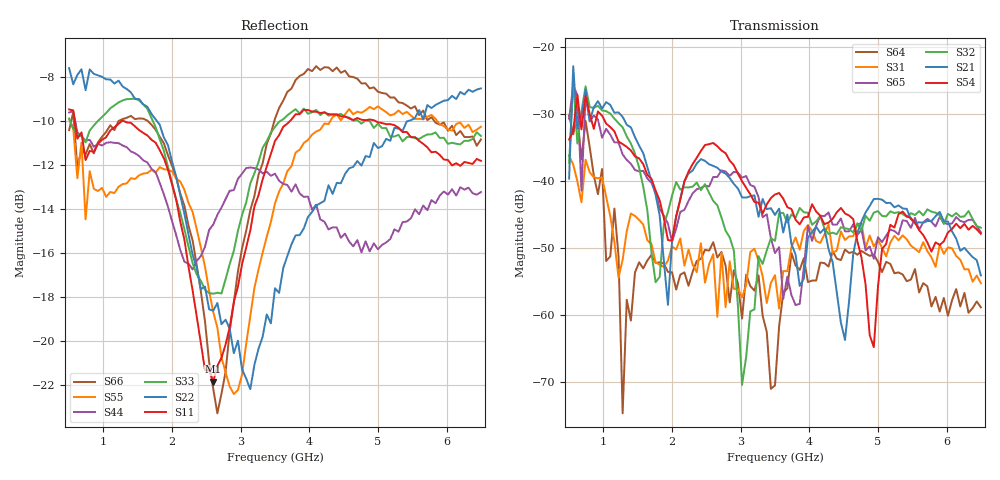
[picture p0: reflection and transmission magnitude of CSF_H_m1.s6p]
!Keysight Technologies,M9804A,MY58100912,A.14.10.03
!Date: Thursday, April 27, 2023 10:28:33
!Correction: S11(C  6-Port  )
!S12(C  6-Port  )
!S13(C  6-Port  )
!S14(C  6-Port  )
!S15(C  6-Port  )
!S16(C  6-Port  )
!S21(C  6-Port  )
!S22(C  6-Port  )
!S23(C  6-Port  )
!S24(C  6-Port  )
!S25(C  6-Port  )
!S26(C  6-Port  )
!S31(C  6-Port  )
!S32(C  6-Port  )
!S33(C  6-Port  )
!S34(C  6-Port  )
!S35(C  6-Port  )
!S36(C  6-Port  )
!S41(C  6-Port  )
!S42(C  6-Port  )
!S43(C  6-Port  )
!S44(C  6-Port  )
!S45(C  6-Port  )
!S46(C  6-Port  )
!S51(C  6-Port  )
!S52(C  6-Port  )
!S53(C  6-Port  )
!S54(C  6-Port  )
!S55(C  6-Port  )
!S56(C  6-Port  )
!S61(C  6-Port  )
!S62(C  6-Port  )
!S63(C  6-Port  )
!S64(C  6-Port  )
!S65(C  6-Port  )
!S66(C  6-Port  )
!S6P File: Measurement: :
# Hz S  RI  R 50
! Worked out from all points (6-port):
!   101 points, 500 MHz to 6.5 GHz, reference 50 ohm
!   strongest paths, dB at 500 MHz, 2 GHz, 3.5 GHz, 5 GHz, 6.5 GHz:
!     S54: -33.8, -48.9, -42.0, -55.8, -47.9
!     S21: -39.7, -49.0, -45.1, -42.7, -54.1
!     S32: -37.3, -42.2, -49.0, -44.5, -47.0
!     S65: -30.7, -49.1, -50.8, -48.4, -47.6
!     S31: -36.2, -49.8, -54.1, -48.7, -55.3
!     S64: -30.2, -53.6, -70.5, -52.1, -58.9
!   lowest |S11| = -21.8 dB at 2.6 GHz (marker M1), VSWR 1.18, Z = 42.7 + j1.92 ohm
!   |S11| at or under -10 dB: 582.3 MHz to 1.273 GHz (690.4 MHz wide, 74.4 % of centre); 1.292 GHz to 3.719 GHz (2.427 GHz wide, 96.8 % of centre); 4.961 GHz to end of sweep
